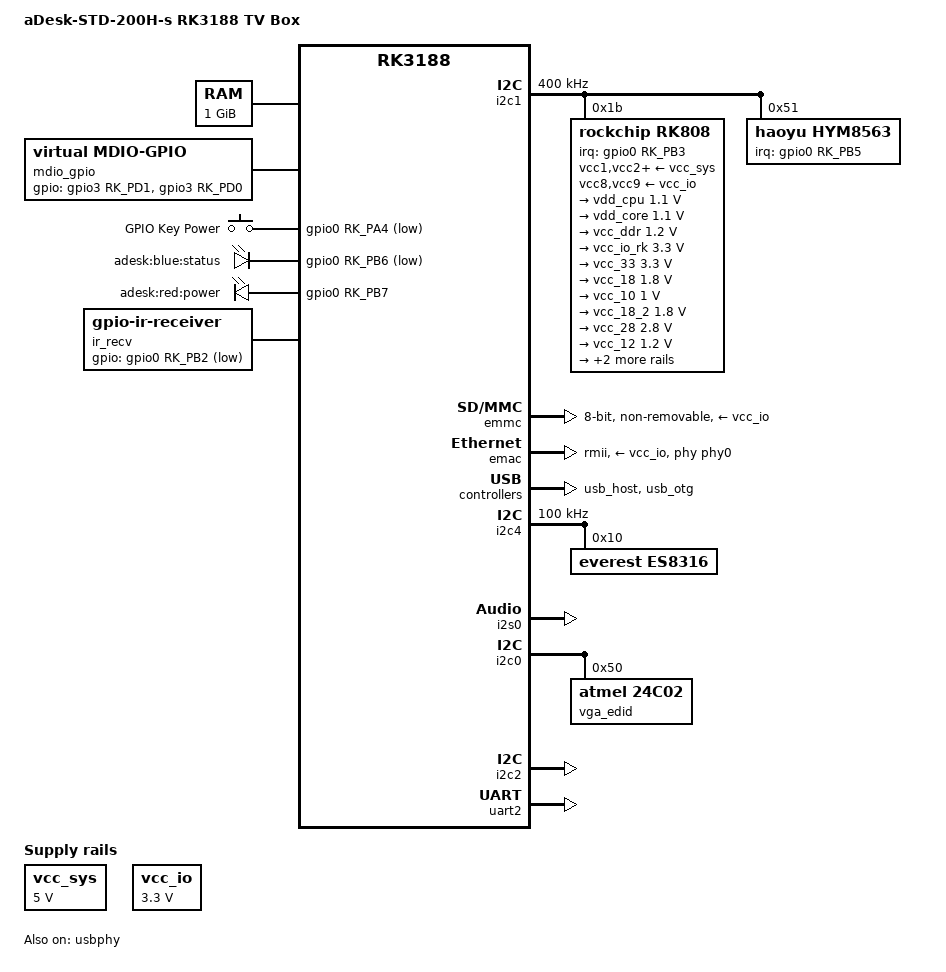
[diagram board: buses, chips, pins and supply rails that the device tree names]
// SPDX-License-Identifier: (GPL-2.0+ OR MIT)
/dts-v1/;

#include <dt-bindings/gpio/gpio.h>
#include <dt-bindings/input/input.h>
#include <dt-bindings/interrupt-controller/irq.h>
#include <dt-bindings/pinctrl/rockchip.h>
#include "rk3188.dtsi"

/ {
	model = "aDesk-STD-200H-s RK3188 TV Box";
	compatible = "rockchip,rk3188";

	aliases {
		/* 物理 TTL 接 UART2（0x20064000）；uart2 由 dtsi 默认 alias serial2 映射为 ttyS2 */
		serial0 = &uart0;
		serial2 = &uart2;
		/* mdio-gpio 总线别名：驱动靠它取 bus id（of_alias_get_id(node,"mdio-gpio")），
		 * 没有这行只会打印一句 failed to get alias id 然后 id=0，功能不受影响 */
		mdio-gpio0 = &mdio_gpio;
		mmc0 = &mmc0;   /* SD 卡控制器（本机无卡槽，节点已 disabled，别名保留仅占位） */
		mmc1 = &emmc;   /* eMMC 控制器：这条别名决定它固定是 mmc1 → /dev/mmcblk1，
		                   必须保留，否则 root=/dev/mmcblk1p1 会失效 */
	};

	chosen {
		/* 修正：console/stdout 对齐物理串口 UART2（ttyS2）；原 serial0/uart0 是误改
		 *
		 * 【第五轮 DTS 改动 2/2：bootargs 与 parameter.txt 的 CMDLINE 完全对齐】
		 * 原代码：
		 *   bootargs = "console=ttyS2,115200 earlyprintk loglevel=8";
		 * 只带 console，没有 root= / blkdevparts。
		 *
		 * 为什么要在 DT 里也写一份？
		 *   内核配置里有 CONFIG_ARM_ATAG_DTB_COMPAT_CMDLINE_FROM_BOOTLOADER=y，
		 *   正常路径是 loader 把 parameter.txt 的 CMDLINE 通过 ATAG 传进来并覆盖
		 *   这里的 bootargs（所以上一轮日志里的 CMDLINE 一直等于 parameter 内容）。
		 *   但一旦 loader 没传 ATAG（换 loader / 换刷机模式 / parameter 没被选中），
		 *   内核就会退回到吃这里的 bootargs —— 没有 root= 和 blkdevparts 时
		 *   又必然 panic。这里写同一份完整串，等于给内核留一条备用路径。
		 *   两处内容必须一字不差地保持同步（build.yml 已从 parameter.txt 里读取
		 *   CMDLINE 直接写进 boot.img 头，CI 还会比对，防止两边漂移）。
		 *
		 * blkdevparts=mmcblk1:-@24M(rootfs)：
		 *   eMMC 上没有 MBR/GPT（ttl-rz4 的 unknown-block(179,1) 已证明），
		 *   由内核 block/partitions/cmdline.c 按命令行建分区：
		 *   在 mmcblk1 上、从 24MiB 起、到盘尾，建 1 个名为 rootfs 的分区，
		 *   即 /dev/mmcblk1p1。生效前提是 CONFIG_PARTITION_ADVANCED=y +
		 *   CONFIG_CMDLINE_PARTITION=y（build.yml 编译期已强制校验）。
		 *   注意 "-" 是“剩余全部”，单位字节。
		 *
		 *   【4MiB 这个数字的来历（对照教程日志）】
		 *   教程 TTL 里有：
		 *     mmcblk0boot0: mmc0:0001 Biwin 4.00 MiB
		 *     mmcblk0boot1: mmc0:0001 Biwin 4.00 MiB
		 *   这是 eMMC 的两个**硬件 boot 分区**的尺寸（那片 Biwin 是 4MiB，本机
		 *   的 004GA1 是 2MiB），与 rootfs 偏移无关，不用管。
		 *   真正与偏移有关的是 parameter 里的 0x2000：扇区单位 ×512 = 4MiB，
		 *   这是加载器/parameter 自身的保留区（loader 就写在扇区 0 起），
		 *   所以 boot 从 4MiB 开始、长 16MiB，到 20MiB(0xA000) 结束。
		 *   教程的 rootfs 正是紧接其后 @0xA000 —— 首尾相接，中间没有空洞。
		 *
		 *   【第八/九轮踩过的坑】
		 *   ttl-rz8：rootfs 声明 0xA000，救援 init 逐偏移读 ext4 超级块，只有
		 *   24MiB（25165824）命中（卷标 rootfs），20MiB 处是残留的 "ANDROID!" 头。
		 *   ttl-rz9：把声明挪到 0xC000 后，数据又跑到 28MiB；而 24MiB 那份变成
		 *   "超级块还在、日志区被覆盖"的废拷贝，挂载报：
		 *     JBD2: no valid journal superblock found
		 *     EXT4-fs (mmcblk1p1): Could not load journal inode
		 *   两轮实测的规律是固定 +4MiB：工具写盘位置 = 声明偏移 + 0x2000 扇区。
		 *   既然规律是死的，就把声明挪回教程同款的 0xA000，让数据落回 24MiB。
		 *
		 *   【第十轮：实现存储对齐】
		 *       boot    0x2000 .. 0xA000（4MiB~20MiB，容量 16MiB）
		 *       rootfs  声明 0xA000(20MiB) → 工具 +4MiB → 数据落 24MiB
		 *       内核    @24M            → p1 起点 = 24MiB = 数据起点
		 *   三处数字固定成 20MiB/24MiB 这组关系：声明→实际→内核视图一条线，
		 *   24MiB 是 4MiB 整数倍（对 eMMC 擦除块/页对齐友好），
		 *   且 24MiB 是**唯一被实机成功挂载过**的偏移（ttl-rz8：losetup -o
		 *   25165824 + mount 成功，df 报 973.4M 总/288.8M 已用）。
		 *   原值（第九轮，保留备查）：blkdevparts=mmcblk1:-@28M(rootfs)
		 *          + mtdparts ...-@0x0000C000(rootfs)
		 */
		stdout-path = "serial2:115200n8";
		// 【第七轮改动：bootargs 补 initrd=0x62000000,0x00800000，与 parameter.txt 的 CMDLINE 逐字对齐】
		// 原因：ttl-rz7 里 boot.img 头带了 ramdisk（头校验 ramdisk_addr=0x62000000、
		// ramdisk_size>0），但内核完全没有 unpack initramfs 的动作，直接进 mount_root
		// 然后 panic —— 说明 loader 没把 ramdisk 交给内核。原厂 parameter-bibl.txt 的
		// CMDLINE 里正是有 initrd=0x62000000,0x00800000，它是 RK31 loader "把 ramdisk
		// 搬到 0x62000000" 的指令。loader 会用自己的 CMDLINE 覆盖这里（ATAG_FROM_
		// BOOTLOADER），所以两边必须同步；平时以 parameter.txt 为准。
		// 原值（保留备查；第七轮时的形态：无 initrd=，rootfs 起点 20M = 0xA000）：
		// bootargs = "console=ttyS2,115200 earlyprintk root=/dev/mmcblk1p1 rootfstype=ext4 rw rootwait init=/sbin/init maxcpus=1 blkdevparts=mmcblk1:-@20M(rootfs)";
		// 原值（第九轮，保留备查）：blkdevparts=mmcblk1:-@28M(rootfs)（本轮回到 @24M，见上方注释）
		// 原值（第十轮，保留备查）：... init=/sbin/init initrd=0x62000000,0x00800000 maxcpus=1 ...
		// 【ttl-rz10 改动：去掉 initrd=0x62000000,0x00800000】
		// 主刷的 boot.img 是纯内核（没有 ramdisk），但 CMDLINE 里带 initrd= 会让
		// loader 在 0x62000000 上交给内核一段 192K 残留垃圾，内核就去"解 initramfs"
		// → "junk within compressed archive" 失败 → 跳过挂根 → exec /init(ENOENT)
		// → exec /sbin/init(ENOENT) → panic（ttl-rz10 实测）。
		// 去掉后内核对 initramfs 不再有期待，会正常执行挂根流程。
		// 只有刷 boot-rescue.img（带救援 initramfs）时才需要它，那份走
		// parameter-rescue.txt，不改这里（这里的 bootargs 是 loader 不传 ATAG 时的兜底）。
		bootargs = "console=ttyS2,115200 earlyprintk root=/dev/mmcblk1p1 rootfstype=ext4 rw rootwait init=/sbin/init maxcpus=1 blkdevparts=mmcblk1:-@24M(rootfs)";
	};

	memory@60000000 {
		device_type = "memory";
		reg = <0x60000000 0x40000000>; /* 1GB DDR3 */
	};

	reserved-memory {
		#address-cells = <1>;
		#size-cells = <1>;
		ranges;
		ion1: ion@88400000 { reg = <0x88400000 0x06400000>; no-map; };
		ion2: ion@7ee00000 { reg = <0x7ee00000 0x09600000>; no-map; };
		fb: framebuffer@7a600000 { reg = <0x7a600000 0x04800000>; no-map; };
	};

	vcc_sys: vsys-regulator {
		compatible = "regulator-fixed";
		regulator-name = "vsys";
		regulator-min-microvolt = <5000000>;
		regulator-max-microvolt = <5000000>;
		regulator-boot-on;
	};

	vcc_io: vcc-io-regulator {
		compatible = "regulator-fixed";
		regulator-name = "vcc_io";
		regulator-min-microvolt = <3300000>;
		regulator-max-microvolt = <3300000>;
		regulator-always-on;
	};

	/* ============================================================
	 * 第二十三轮：MDIO 改成 GPIO 软件模拟总线（bit-bang）
	 * ============================================================
	 * 依据一（原厂固件）：从原机 kernel.img 里提取到的字符串是
	 *   mdio_bb_read / mdio_bb_write              → 原厂就是软件 bit-bang
	 *   "request mdio pin ok" / "request mdc pin ok" → 把两只脚当 GPIO 申请
	 *   "output mdio ctl pin ok , enable rtl8201f ethernet function"
	 * 依据二（实机）：ttl-16/ttl-17 用 SoC 硬件 MDIO 读 RTL8201FN，0~7 号地址
	 * 全部 missing，每次超时约 33ms（读到的是上拉电平 0xffff）；而 RJ45 指示灯是亮的，
	 * 说明 PHY 有电、链路正常，只是管理口这条通路没通。
	 *
	 * 做法：GPIO3_D0/D1 从 EMAC 复用功能改成 GPIO，交给内核 mdio-gpio 驱动
	 * 用软件时序扫描；速率由软件决定，远低于 RTL8201FN 的 MDC 上限 2.5MHz。
	 * 同时把 0~7 全部地址都声明出来：一次启动既验证通路，又直接定位 PHY 地址。
	 */
	mdio_gpio: mdio-gpio {
		compatible = "virtual,mdio-gpio";
		#address-cells = <1>;
		#size-cells = <0>;
		/* gpios 顺序固定：第 1 个 = MDC（输出），第 2 个 = MDIO（双向）。
		 * 引脚对应关系不是猜的，取自 RK3188 TRM V1.3 第 1.3.2 节引脚表：
		 *   GPIO3_D[0] G23 ... sdmmc1_pwr_en / mii_md  → mii_md 就是 MDIO，在 D0
		 *   GPIO3_D[1] ...                  / mii_mdc  → MDC 在 D1
		 * （mainline 的 emac_mdio 组把两只脚都复用成功能 2，那里不区分先后，
		 *   所以 dtsi 里 PD0/PD1 的书写顺序不能当作 MDC/MDIO 的依据。） */
		gpios = <&gpio3 RK_PD1 GPIO_ACTIVE_HIGH>,   /* MDC  = GPIO3_D1 */
		        <&gpio3 RK_PD0 GPIO_ACTIVE_HIGH>;   /* MDIO = GPIO3_D0 */
		pinctrl-names = "default";
		pinctrl-0 = <&emac_mdio_gpio>;
		status = "okay";

		/* RTL8201FN 的 PHY 地址只能取 000b~111b（数据手册 5.x / 8.1.2），
		 * 故把 0~7 全列出来：没有芯片的地址会打印一行 missing，
		 * 唯一不打 missing 的那个，就是真实地址。 */
		phy0: ethernet-phy@0 { reg = <0>; };
		phy1: ethernet-phy@1 { reg = <1>; };
		phy2: ethernet-phy@2 { reg = <2>; };
		phy3: ethernet-phy@3 { reg = <3>; };
		phy4: ethernet-phy@4 { reg = <4>; };
		phy5: ethernet-phy@5 { reg = <5>; };
		phy6: ethernet-phy@6 { reg = <6>; };
		phy7: ethernet-phy@7 { reg = <7>; };
	};

	gpio-keys {
		compatible = "gpio-keys";
		autorepeat;
		key-power {
			gpios = <&gpio0 RK_PA4 GPIO_ACTIVE_LOW>;
			linux,code = <KEY_POWER>;
			label = "GPIO Key Power";
			linux,input-type = <1>;
			wakeup-source;
			debounce-interval = <100>;
		};
	};

	gpio-leds {
		compatible = "gpio-leds";
		led-blue {
			label = "adesk:blue:status";
			gpios = <&gpio0 RK_PB6 GPIO_ACTIVE_LOW>;
			default-state = "off";
		};
		led-red {
			label = "adesk:red:power";
			gpios = <&gpio0 RK_PB7 GPIO_ACTIVE_HIGH>;
			default-state = "off";
		};
	};

	ir_recv: ir-receiver {
		compatible = "gpio-ir-receiver";
		gpios = <&gpio0 RK_PB2 GPIO_ACTIVE_LOW>;
		pinctrl-names = "default";
		pinctrl-0 = <&ir_recv_pin>;
	};

	sound {
		compatible = "simple-audio-card";
		simple-audio-card,name = "RK_ES8316";
		simple-audio-card,format = "i2s";
		simple-audio-card,mclk-fs = <256>;
		simple-audio-card,cpu { sound-dai = <&i2s0>; };
		simple-audio-card,codec { sound-dai = <&es8316>; };
	};
};

&cpu0 { cpu-supply = <&vdd_cpu>; };
&cpu1 { cpu-supply = <&vdd_cpu>; };
&cpu2 { cpu-supply = <&vdd_cpu>; };
&cpu3 { cpu-supply = <&vdd_cpu>; };

&i2c1 {
	status = "okay";
	clock-frequency = <400000>;

	rk808: pmic@1b {
		compatible = "rockchip,rk808";
		reg = <0x1b>;
		interrupt-parent = <&gpio0>;
		interrupts = <RK_PB3 IRQ_TYPE_LEVEL_LOW>;
		pinctrl-names = "default";
		pinctrl-0 = <&pmic_int>;
		rockchip,system-power-controller;
		wakeup-source;
		#clock-cells = <1>;
		clock-output-names = "rk808-clkout1", "rk808-clkout2";

		vcc1-supply = <&vcc_sys>;
		vcc2-supply = <&vcc_sys>;
		vcc3-supply = <&vcc_sys>;
		vcc4-supply = <&vcc_sys>;
		vcc6-supply = <&vcc_sys>;
		vcc7-supply = <&vcc_sys>;
		vcc8-supply = <&vcc_io>;
		vcc9-supply = <&vcc_io>;

		regulators {
			vdd_cpu: DCDC_REG1 { regulator-always-on; regulator-boot-on; regulator-min-microvolt = <1100000>; regulator-max-microvolt = <1100000>; regulator-name = "vdd_arm"; };
			vdd_core: DCDC_REG2 { regulator-always-on; regulator-boot-on; regulator-min-microvolt = <1100000>; regulator-max-microvolt = <1100000>; regulator-name = "vdd_core"; };
			vcc_ddr: DCDC_REG3 { regulator-always-on; regulator-boot-on; regulator-min-microvolt = <1200000>; regulator-max-microvolt = <1200000>; regulator-name = "vcc_ddr"; };
			vcc_io_rk: DCDC_REG4 { regulator-always-on; regulator-boot-on; regulator-min-microvolt = <3300000>; regulator-max-microvolt = <3300000>; regulator-name = "vcc_io"; };
			vcc_33: LDO_REG1 { regulator-always-on; regulator-boot-on; regulator-min-microvolt = <3300000>; regulator-max-microvolt = <3300000>; regulator-name = "vcc_33"; };
			vcc_18: LDO_REG2 { regulator-always-on; regulator-boot-on; regulator-min-microvolt = <1800000>; regulator-max-microvolt = <1800000>; regulator-name = "vcc_18"; };
			vcc_10: LDO_REG3 { regulator-always-on; regulator-boot-on; regulator-min-microvolt = <1000000>; regulator-max-microvolt = <1000000>; regulator-name = "vcc_10"; };
			vcc_18_2: LDO_REG4 { regulator-always-on; regulator-boot-on; regulator-min-microvolt = <1800000>; regulator-max-microvolt = <1800000>; regulator-name = "vcc_18_2"; };
			vcc_28: LDO_REG5 { regulator-always-on; regulator-boot-on; regulator-min-microvolt = <2800000>; regulator-max-microvolt = <2800000>; regulator-name = "vcc_28"; };
			vcc_12: LDO_REG6 { regulator-always-on; regulator-boot-on; regulator-min-microvolt = <1200000>; regulator-max-microvolt = <1200000>; regulator-name = "vcc_12"; };
			vcc_18_3: LDO_REG7 { regulator-always-on; regulator-boot-on; regulator-min-microvolt = <1800000>; regulator-max-microvolt = <1800000>; regulator-name = "vcc_18_3"; };
			vcc_33_2: LDO_REG8 { regulator-always-on; regulator-boot-on; regulator-min-microvolt = <3300000>; regulator-max-microvolt = <3300000>; regulator-name = "vcc_33_2"; };
		};
	};

	hym8563: rtc@51 {
		compatible = "haoyu,hym8563";
		reg = <0x51>;
		interrupt-parent = <&gpio0>;
		interrupts = <RK_PB5 IRQ_TYPE_EDGE_FALLING>;
		pinctrl-names = "default";
		pinctrl-0 = <&rtc_int>;
		#clock-cells = <0>;
		clock-output-names = "xin32k";
		wakeup-source;
	};
};

/* eMMC 控制器 */
&emmc {
	bus-width = <8>;
	cap-mmc-highspeed;
	non-removable;
	pinctrl-names = "default";
	pinctrl-0 = <&emmc_clk>, <&emmc_cmd>, <&emmc_rst>;
	vmmc-supply = <&vcc_io>;
	status = "okay";
};

/* SD/TF 卡槽控制器
 *
 * 【第十轮改动：status okay → disabled】
 * 本机（aDesk-STD-200H-s 瘦客户机）主板上没有 SD/TF 卡槽，sd0 那组引脚
 * （sd0_clk/cmd/d0~d3/cd）没有引出到任何连接器。保持 okay 的代价是：
 *   1) 每次启动都注册一个不可能有卡的 host，做一次 400kHz 探测（ttl-rz9 里
 *      "mmc_host mmc0: Bus speed ... 400000Hz" 之后就没有下文，白跑一遍）；
 *   2) pinctrl 会把 sd0 那组脚按 SD 功能配置掉。若这块板子把其中某几根脚
 *      复用成了别的用途（瘦客户机常见做法），就是潜在冲突。
 * 所以直接关掉。原来的配置用注释保留，将来若要接 SD 卡或 SDIO WiFi，
 * 把 status 改回 "okay" 即可。
 *
 * 【为什么关掉它不会变成 mmcblk0】
 * mmc 控制器的编号不是按 probe 顺序，而是按 aliases：
 *   drivers/mmc/core/host.c（v6.12）：
 *     alias_id = of_alias_get_id(dev->of_node, "mmc");
 *     if (alias_id >= 0) index = alias_id;
 * 本 dts 的 aliases 里写了 mmc1 = &emmc，所以 eMMC 固定是 mmc1 →
 * /dev/mmcblk1，parameter.txt 的 root=/dev/mmcblk1p1 继续有效。
 * 千万不要把 mmc1 这条别名删掉或改成 mmc0（已本地核过 6.12 源码）。
 */
&mmc0 {
	bus-width = <4>;
	cap-mmc-highspeed;
	cap-sd-highspeed;
	disable-wp;
	pinctrl-names = "default";
	pinctrl-0 = <&sd0_clk>, <&sd0_cmd>, <&sd0_cd>, <&sd0_bus4>;
	vmmc-supply = <&vcc_io>;
	// status = "okay";          // 原值（保留备查）
	status = "disabled";          // 本机无 SD/TF 卡槽，见上方说明
};

&emac {
	/* ---- 第二十二轮：属性名从 phy-handle 改成 phy（本轮唯一改动）----
	 * 原值（保留备查）：phy-handle = <&phy0>;
	 *
	 * 为什么必须改（6.12 源码，drivers/net/ethernet/arc/emac_main.c:869）：
	 *   phy_node = of_parse_phandle(dev->of_node, "phy", 0);
	 *   if (!phy_node) {
	 *           dev_err(dev, "failed to retrieve phy description from device tree");
	 *           return -ENODEV;
	 *   }
	 * 驱动找的是名为 "phy" 的 phandle，而 "phy-handle" 是 stmmac/其他驱动的写法。
	 * 属性名对不上 → 直接返回 -ENODEV(-19) → 网卡根本注册不上，
	 * 于是 /sys/class/net 里只有 lo 和 sit0（sit0 是 IPv6 隧道占位设备）。
	 * 实机日志完全对得上：
	 *   rockchip_emac 10204000.ethernet: failed to retrieve phy description from device tree
	 *   rockchip_emac 10204000.ethernet: failed to probe arc emac (-19)
	 *
	 * 另一个"看着像错、其实无害"的日志是 "no regulator found"，
	 * 出自 emac_rockchip.c:162 的 devm_regulator_get_optional()，可选，忽略即可。
	 *
	 * phy-mode 本来不用写（基节点 rk3xxx.dtsi:203 已有 phy-mode = "rmii"，
	 * 且 emac_rockchip.c:121 只接受 RMII，继承下来正好）；这里显式再写一遍，
	 * 是为了万一将来换基树/换版本时该属性丢失 —— 值与原继承值完全相同，
	 * 属于"写了不改行为"的保险，参考朋友那份 rk3188-adesk.dts:199。
	 */
	phy-mode = "rmii";

	/* 参考朋友那份 rk3188-adesk.dts:200 补上 PHY 供电引用。
	 * 原状（无此行）会打印 "rockchip_emac 10204000.ethernet: no regulator found"，
	 * 该告警来自 emac_rockchip.c:162 的 devm_regulator_get_optional(dev, "phy")，
	 * 本身不致命；补上后这行噪音消失，并把 3.3V IO 电源正式挂到 PHY 上。
	 * vcc_io 在本 dts 里是 regulator-fixed、regulator-always-on，enable 是空操作，无风险。
	 */
	phy-supply = <&vcc_io>;

	phy = <&phy0>;          /* 关键：驱动要的是 phy，不是 phy-handle，见上方说明 */
	pinctrl-names = "default";
	/* 原值（保留备查）：pinctrl-0 = <&emac_xfer>, <&emac_mdio>;
	 * GPIOD0/D1 已被 mdio-gpio 当 GPIO 用掉了，这里不能再申请为 EMAC 复用功能，
	 * 否则 pinctrl 会把同一只脚配成两种功能，后者覆盖前者。 */
	pinctrl-0 = <&emac_xfer>;
	status = "okay";

	/* 原值（保留备查）：内部 mdio 子节点，phy0 在这里
	 *   mdio {
	 *           #address-cells = <1>;
	 *           #size-cells = <0>;
	 *           phy0: ethernet-phy@0 { reg = <0>; };
	 *   };
	 * 现在 phy0 移到 root 下的 mdio_gpio 总线里，硬件 MDIO 总线上不再挂 PHY，
	 * 但驱动仍会注册这条空总线（arc_mdio_probe 在没有 mdio 子节点时
	 * 用 emac 节点本身注册），不影响功能。 */
};

&usbphy { status = "okay"; };
&usb_host { status = "okay"; };
&usb_otg { status = "okay"; };

&i2c4 {
	status = "okay";
	clock-frequency = <100000>;
	es8316: codec@10 {
		compatible = "everest,es8316";
		reg = <0x10>;
		clocks = <&cru SCLK_I2S0>;
		clock-names = "mclk";
		#sound-dai-cells = <0>;
	};
};

&i2s0 { status = "okay"; };

&i2c0 {
	status = "okay";
	vga_edid: eeprom@50 { compatible = "atmel,24c02"; reg = <0x50>; pagesize = <16>; };
};

&i2c2 {
	status = "okay";
	hdmi_tx: hdmi@2b { compatible = "vendor,ms7210"; reg = <0x2b>; status = "disabled"; };
	it66121: hdmi-tx@4c { compatible = "ite,it66121"; reg = <0x4c>; status = "disabled"; };
};

&i2c3 { status = "disabled"; };
&vop0 { status = "disabled"; };
&vop1 { status = "disabled"; };

/* ========================================================
 * 串口开启（对照实机 TTL 日志修正）
 * 日志证据：earlycon at MMIO 0x20064000（= uart2），8250 probe 0x10124000（= uart0）；
 * TTL 物理接在 uart2，故正式 console 用 &uart2（ttyS2）。
 * 原代码开启的是 &uart0；现改为 &uart2，uart0 保持 dtsi 默认 disabled。
 * ======================================================== */
/* 原始（误改）：&uart0 { status = "okay"; }; */
&uart2 {
	status = "okay";
};

&pinctrl {
	/* D0/D1 复用成 GPIO（RK_FUNC_GPIO = 0）。MDC 只输出，不配上下拉；
	 * MDIO 是双向开漏线，配上拉，和板上 1.5k~4.7k 外部上拉并联不会出问题。 */
	emac_mdio_gpio: emac-mdio-gpio {
		/* D1 = MDC 只输出，不配上下拉；D0 = MDIO 双向，配上拉 */
		rockchip,pins = <3 RK_PD1 RK_FUNC_GPIO &pcfg_pull_none>,
		                <3 RK_PD0 RK_FUNC_GPIO &pcfg_pull_up>;
	};

	pmic { pmic_int: pmic-int { rockchip,pins = <0 RK_PB3 RK_FUNC_GPIO &pcfg_pull_up>; }; };
	hym8563 { rtc_int: rtc-int { rockchip,pins = <0 RK_PB5 RK_FUNC_GPIO &pcfg_pull_up>; }; };
	ir-receiver { ir_recv_pin: ir-recv-pin { rockchip,pins = <0 RK_PB2 RK_FUNC_GPIO &pcfg_pull_none>; }; };
};
